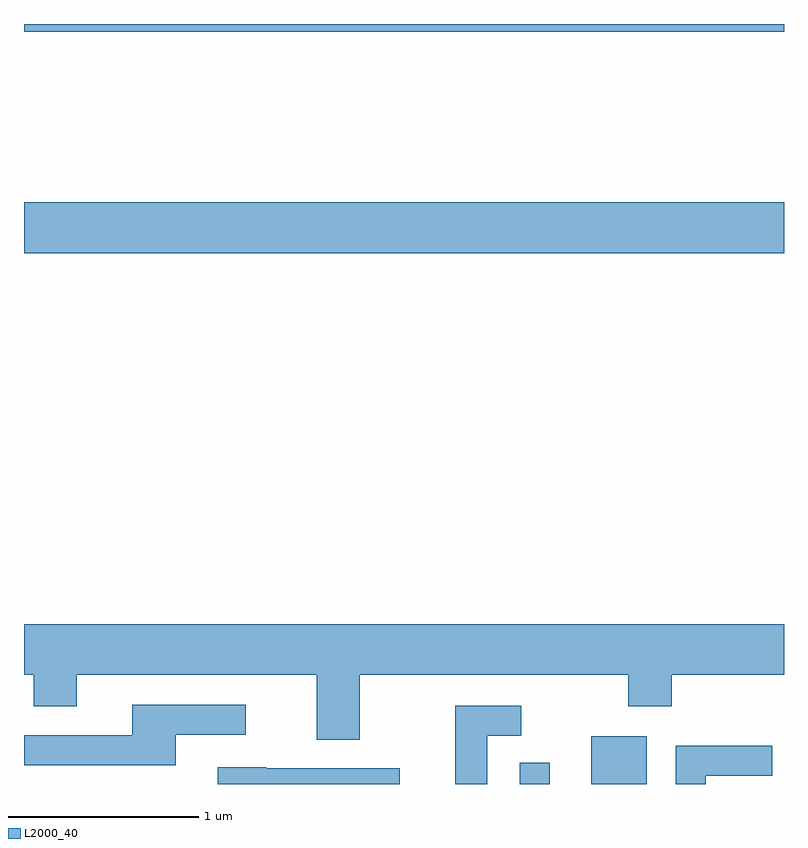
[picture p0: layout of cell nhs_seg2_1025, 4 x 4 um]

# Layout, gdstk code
import gdstk
lib = gdstk.Library(unit=1e-6, precision=1e-09)
def R(c, l, rs):  # rectangles x0, y0, x1, y1
    for r in rs: c.add(gdstk.rectangle(r[:2], r[2:], *l))
def P(c, l, *ps):  # polygons
    for p in ps: c.add(gdstk.Polygon(p, *l))
L2000_40 = (2000, 40)

nhs_seg2_1025 = lib.new_cell('nhs_seg2_1025')
R(nhs_seg2_1025, L2000_40, [(218.221,987.802,218.379,987.913), (218.596,987.802,218.889,988.054), (215.611,990.596,219.611,990.864), (215.611,991.761,219.611,991.802)])
P(nhs_seg2_1025, L2000_40, [(217.379,988.376),(218.791,988.376),(218.791,988.211),(219.019,988.211),(219.019,988.376),(219.611,988.376),(219.611,988.644),(215.611,988.644),(215.611,988.376),(215.661,988.376),(215.661,988.211),(215.889,988.211),(215.889,988.376),(217.151,988.376),(217.151,988.036),(217.379,988.036)],
  [(216.409,988.061),(216.778,988.061),(216.778,988.219),(216.181,988.219),(216.181,988.059),(215.611,988.059),(215.611,987.901),(216.409,987.901)],
  [(218.049,988.056),(218.228,988.056),(218.228,988.214),(217.881,988.214),(217.881,987.802),(218.049,987.802)],
  [(219.199,987.846),(219.548,987.846),(219.548,988.004),(219.041,988.004),(219.041,987.802),(219.199,987.802)],
  [(217.589,987.884),(216.885,987.884),(216.885,987.889),(216.631,987.889),(216.631,987.802),(217.589,987.802)])

lib.write_gds('nhs_seg2_1025.gds')
